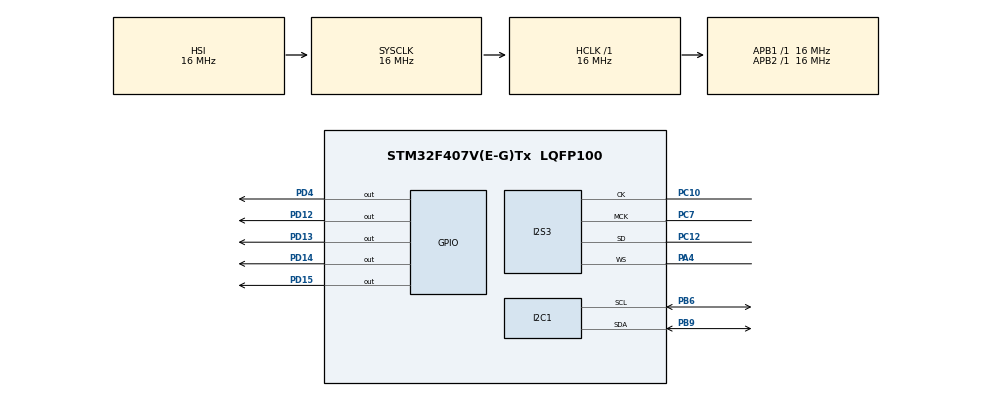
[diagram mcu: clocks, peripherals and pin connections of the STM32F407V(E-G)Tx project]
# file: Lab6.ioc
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Dma.Request0=SPI3_TX
Dma.SPI3_TX.0.Direction=DMA_MEMORY_TO_PERIPH
Dma.SPI3_TX.0.FIFOMode=DMA_FIFOMODE_ENABLE
Dma.SPI3_TX.0.FIFOThreshold=DMA_FIFO_THRESHOLD_FULL
Dma.SPI3_TX.0.Instance=DMA1_Stream5
Dma.SPI3_TX.0.MemBurst=DMA_MBURST_SINGLE
Dma.SPI3_TX.0.MemDataAlignment=DMA_MDATAALIGN_HALFWORD
Dma.SPI3_TX.0.MemInc=DMA_MINC_ENABLE
Dma.SPI3_TX.0.Mode=DMA_CIRCULAR
Dma.SPI3_TX.0.PeriphBurst=DMA_PBURST_SINGLE
Dma.SPI3_TX.0.PeriphDataAlignment=DMA_PDATAALIGN_HALFWORD
Dma.SPI3_TX.0.PeriphInc=DMA_PINC_DISABLE
Dma.SPI3_TX.0.Priority=DMA_PRIORITY_LOW
I2S3.AudioFreq=I2S_AUDIOFREQ_48K
I2S3.ErrorAudioFreq=-2.34 %
I2S3.FullDuplexMode=I2S_FULLDUPLEXMODE_DISABLE
I2S3.Instance=SPI$Index
I2S3.RealAudioFreq=46.875 KHz
I2S3.VirtualMode=I2S_MODE_MASTER
Mcu.Family=STM32F4
Mcu.Name=STM32F407V(E-G)Tx
Mcu.Package=LQFP100
NVIC.DMA1_Stream5_IRQn=true\:0\:0\:false\:false\:true\:false\:true\:true
NVIC.PriorityGroup=NVIC_PRIORITYGROUP_4
PA4.Mode=Half_Duplex_Master
PA4.Signal=I2S3_WS
PB6.Mode=I2C
PB6.Signal=I2C1_SCL
PB9.Mode=I2C
PB9.Signal=I2C1_SDA
PC10.Mode=Half_Duplex_Master
PC10.Signal=I2S3_CK
PC12.Mode=Half_Duplex_Master
PC12.Signal=I2S3_SD
PC7.Mode=Master_Clock_Activated
PC7.Signal=I2S3_MCK
PD12.Signal=GPIO_Output
PD13.Signal=GPIO_Output
PD14.Signal=GPIO_Output
PD15.Signal=GPIO_Output
PD4.Signal=GPIO_Output
ProjectManager.HeapSize=0x200
ProjectManager.StackSize=0x400
ProjectManager.TargetToolchain=STM32CubeIDE
RCC.AHBFreq_Value=16000000
RCC.APB1Freq_Value=16000000
RCC.APB2Freq_Value=16000000
RCC.CortexFreq_Value=16000000
RCC.HSE_VALUE=25000000
RCC.HSI_VALUE=16000000
RCC.LSE_VALUE=32768
RCC.SYSCLKFreq_VALUE=16000000
RCC.VCOOutputFreq_Value=192000000
board=custom

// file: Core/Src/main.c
/* USER CODE BEGIN Header */
/**
  ******************************************************************************
  * @file           : main.c
  * @brief          : Main program body
  ******************************************************************************
  * @attention
  *
  * Copyright (c) 2025 STMicroelectronics.
  * All rights reserved.
  *
  * This software is licensed under terms that can be found in the LICENSE file
  * in the root directory of this software component.
  * If no LICENSE file comes with this software, it is provided AS-IS.
  *
  ******************************************************************************
  */
/* USER CODE END Header */
#include "main.h"

/* USER CODE BEGIN PTD */
typedef enum
{
	C4,
	C5,
	D5,
	E5,
	F5,
	G5,
	A5,
	B5,
	C6,
	D6,
	E6,
	F6,
	G6,
	A6,
	B6,
	C7,
	MAX_VALUE
} soundToneType;

static const uint8_t soundToneReg[16]={		//list of all possible register values
		0x09,
		0x19,
		0x29,
		0x39,
		0x49,
		0x59,
		0x69,
		0x79,
		0x89,
		0x99,
		0xA9,
		0xB9,
		0xC9,
		0xD9,
		0xE9,
		0xF9
};

/* USER CODE END PTD */

/* USER CODE BEGIN PD */
#define CS43L22_I2C_ADDRESS		0x94
#define I2C_TIMEOUT				10

/* USER CODE END PD */

I2C_HandleTypeDef hi2c1;

I2S_HandleTypeDef hi2s3;
DMA_HandleTypeDef hdma_spi3_tx;

/* USER CODE BEGIN PV */
int16_t dataI2S[100] = {0};
/* USER CODE END PV */

void SystemClock_Config(void);
static void MX_GPIO_Init(void);
static void MX_DMA_Init(void);
static void MX_I2C1_Init(void);
static void MX_I2S3_Init(void);

/* USER CODE BEGIN 0 */

void CS43L22_Init(void)
{
	// Enable chip
	HAL_GPIO_WritePin(GPIOD, GPIO_PIN_4, GPIO_PIN_SET);

	//
	// Initialization
	//
	uint8_t TxBuffer[2];

	TxBuffer[0] = 0x0D;
	TxBuffer[1] = 0x01;
	HAL_I2C_Master_Transmit(&hi2c1, CS43L22_I2C_ADDRESS, (uint8_t*) &TxBuffer, 2, I2C_TIMEOUT);

	TxBuffer[0] = 0x00;
	TxBuffer[1] = 0x99;
	HAL_I2C_Master_Transmit(&hi2c1, CS43L22_I2C_ADDRESS, (uint8_t*) &TxBuffer, 2, I2C_TIMEOUT);

	TxBuffer[0] = 0x47;
	TxBuffer[1] = 0x80;
	HAL_I2C_Master_Transmit(&hi2c1, CS43L22_I2C_ADDRESS, (uint8_t*) &TxBuffer, 2, I2C_TIMEOUT);

	TxBuffer[0] = 0x32;
	TxBuffer[1] = 0xFF;
	HAL_I2C_Master_Transmit(&hi2c1, CS43L22_I2C_ADDRESS, (uint8_t*) &TxBuffer, 2, I2C_TIMEOUT);

	TxBuffer[0] = 0x32;
	TxBuffer[1] = 0x7F;
	HAL_I2C_Master_Transmit(&hi2c1, CS43L22_I2C_ADDRESS, (uint8_t*) &TxBuffer, 2, I2C_TIMEOUT);

	TxBuffer[0] = 0x00;
	TxBuffer[1] = 0x00;
	HAL_I2C_Master_Transmit(&hi2c1, CS43L22_I2C_ADDRESS, (uint8_t*) &TxBuffer, 2, I2C_TIMEOUT);

	TxBuffer[0] = 0x04;
	TxBuffer[1] = 0xAF;
	HAL_I2C_Master_Transmit(&hi2c1, CS43L22_I2C_ADDRESS, (uint8_t*) &TxBuffer, 2, I2C_TIMEOUT);

	TxBuffer[0] = 0x0D;
	TxBuffer[1] = 0x70;
	HAL_I2C_Master_Transmit(&hi2c1, CS43L22_I2C_ADDRESS, (uint8_t*) &TxBuffer, 2, I2C_TIMEOUT);

	TxBuffer[0] = 0x05;
	TxBuffer[1] = 0x81;
	HAL_I2C_Master_Transmit(&hi2c1, CS43L22_I2C_ADDRESS, (uint8_t*) &TxBuffer, 2, I2C_TIMEOUT);

	TxBuffer[0] = 0x06;
	TxBuffer[1] = 0x07;
	HAL_I2C_Master_Transmit(&hi2c1, CS43L22_I2C_ADDRESS, (uint8_t*) &TxBuffer, 2, I2C_TIMEOUT);

	TxBuffer[0] = 0x0A;
	TxBuffer[1] = 0x00;
	HAL_I2C_Master_Transmit(&hi2c1, CS43L22_I2C_ADDRESS, (uint8_t*) &TxBuffer, 2, I2C_TIMEOUT);

	TxBuffer[0] = 0x27;
	TxBuffer[1] = 0x00;
	HAL_I2C_Master_Transmit(&hi2c1, CS43L22_I2C_ADDRESS, (uint8_t*) &TxBuffer, 2, I2C_TIMEOUT);

	TxBuffer[0] = 0x1A;
	TxBuffer[1] = 0x0A;
	HAL_I2C_Master_Transmit(&hi2c1, CS43L22_I2C_ADDRESS, (uint8_t*) &TxBuffer, 2, I2C_TIMEOUT);

	TxBuffer[0] = 0x1B;
	TxBuffer[1] = 0x0A;
	HAL_I2C_Master_Transmit(&hi2c1, CS43L22_I2C_ADDRESS, (uint8_t*) &TxBuffer, 2, I2C_TIMEOUT);

	TxBuffer[0] = 0x1F;
	TxBuffer[1] = 0x0F;
	HAL_I2C_Master_Transmit(&hi2c1, CS43L22_I2C_ADDRESS, (uint8_t*) &TxBuffer, 2, I2C_TIMEOUT);

	TxBuffer[0] = 0x02;
	TxBuffer[1] = 0x9E;
	HAL_I2C_Master_Transmit(&hi2c1, CS43L22_I2C_ADDRESS, (uint8_t*) &TxBuffer, 2, I2C_TIMEOUT);
}

void CS43L22_Beep(soundToneType pitch, uint32_t duration_ms)
{
	uint8_t TxBuffer[2];

	// Set volume and off time
	TxBuffer[0] = 0x1D;		// Register address
	TxBuffer[1] = 0x00;		// Value (volume and off time)
	HAL_I2C_Master_Transmit(&hi2c1, CS43L22_I2C_ADDRESS, (uint8_t*) &TxBuffer, 2, I2C_TIMEOUT);

	// Set sound frequency
	TxBuffer[0] = 0x1C;		// Register address
	if (pitch < MAX_VALUE) {
		TxBuffer[1] = soundToneReg[pitch]; //Set pitch from the list
	}
	else{
		TxBuffer[1] = soundToneReg[15]; //Set the highest available
	}
	HAL_I2C_Master_Transmit(&hi2c1, CS43L22_I2C_ADDRESS, (uint8_t*) &TxBuffer, 2, I2C_TIMEOUT);

	// Enable continuous mode (SOUND STARTED)
	TxBuffer[0] = 0x1E;		// Register address
	TxBuffer[1] = 0xC0;		// Value (beep and tone configuration)
	HAL_I2C_Master_Transmit(&hi2c1, CS43L22_I2C_ADDRESS, (uint8_t*) &TxBuffer, 2, I2C_TIMEOUT);

	// Playing...
	HAL_Delay(duration_ms);

	// Disable continuous mode (SOUND STOPED)
	TxBuffer[0] = 0x1E;		// Register address
	TxBuffer[1] = 0x00;		// Value (beep and tone configuration)
	HAL_I2C_Master_Transmit(&hi2c1, CS43L22_I2C_ADDRESS, (uint8_t*) &TxBuffer, 2, I2C_TIMEOUT);
}

void lightMusic(soundToneType note){
	HAL_GPIO_WritePin(GPIOD, GPIO_PIN_12 | GPIO_PIN_13 | GPIO_PIN_14 | GPIO_PIN_15, GPIO_PIN_RESET);	// disables all LEDs

	switch(note){	// picks LEDs to light based on the note selected
	case C4:
	case C5:
		HAL_GPIO_WritePin(GPIOD, GPIO_PIN_12, GPIO_PIN_SET);
		break;
	case D5:
	case D6:
		HAL_GPIO_WritePin(GPIOD, GPIO_PIN_13, GPIO_PIN_SET);
		break;
	case E5:
	case E6:
		HAL_GPIO_WritePin(GPIOD, GPIO_PIN_14, GPIO_PIN_SET);
		break;
	case F5:
	case F6:
		HAL_GPIO_WritePin(GPIOD, GPIO_PIN_15, GPIO_PIN_SET);
		break;
	case G5:
	case G6:
		HAL_GPIO_WritePin(GPIOD, GPIO_PIN_12 | GPIO_PIN_13, GPIO_PIN_SET);
		break;
	case A5:
	case A6:
		HAL_GPIO_WritePin(GPIOD, GPIO_PIN_13 | GPIO_PIN_14, GPIO_PIN_SET);
		break;
	case B5:
	case B6:
		HAL_GPIO_WritePin(GPIOD, GPIO_PIN_14 | GPIO_PIN_15, GPIO_PIN_SET);
		break;
	case C6:
	case C7:
	default:
		HAL_GPIO_WritePin(GPIOD, GPIO_PIN_15 | GPIO_PIN_12, GPIO_PIN_SET);
		break;
	}
}

/* USER CODE END 0 */

int main(void)
{

  /* MCU Configuration--------------------------------------------------------*/

  /* Reset of all peripherals, Initializes the Flash interface and the Systick. */
  HAL_Init();

  /* Configure the system clock */
  SystemClock_Config();

  /* Initialize all configured peripherals */
  MX_GPIO_Init();
  MX_DMA_Init();
  MX_I2C1_Init();
  MX_I2S3_Init();
  /* USER CODE BEGIN 2 */

  // Init DAC
  CS43L22_Init();

  // Transmit empty data
  HAL_I2S_Transmit_DMA(&hi2s3, (uint16_t *)dataI2S, 100);

  /* USER CODE END 2 */

  /* Infinite loop */
  /* USER CODE BEGIN WHILE */
  HAL_Delay(1000);	//delay before starting

  int i = 1;

  soundToneType melody[] = {
	  A5, A5, A5, F5, C6, A5, F5, C6, A5,
      E6, E6, E6, F6, C6, G5, F5, C6,
      A5, F5, C6, A5, F5, C6, A5,
      E6, E6, E6, F6, C6, G5, F5, C6,
      // remaining unused notes for full coverage
      B5, D5, B6, D6, G6, A6, B6, C7, C4};

  uint32_t noteDurations[] = {
      500, 500, 500, 350, 150, 500, 350, 150, 1000,
      500, 350, 150, 500, 350, 150, 500, 1000,
      500, 500, 350, 150, 500, 350, 150,
      500, 350, 150, 500, 350, 150, 500, 1000,
      // Fast run through all remaining notes
      200, 200, 200, 200, 200, 200, 200, 500,
      400};

  int melodyNoteCount = sizeof(melody) / sizeof(melody[0]);

  while (i<4) {	//repeat the melody 3 times

      for(int j=0; j<melodyNoteCount; ++j){	//for each note
          CS43L22_Beep(melody[j], noteDurations[j]);	//Play the note
          lightMusic(melody[j]);	//activate LEDs
          HAL_Delay(50); 	//wait before the next note
      }
      HAL_Delay(1000);	//delay between melodies
      i++;
  }

  HAL_GPIO_WritePin(GPIOD, GPIO_PIN_12 | GPIO_PIN_13 | GPIO_PIN_14 | GPIO_PIN_15, GPIO_PIN_RESET);	// disables all LEDs
  while (1) {}

  /* USER CODE END 3 */
}

void SystemClock_Config(void)
{
  RCC_OscInitTypeDef RCC_OscInitStruct = {0};
  RCC_ClkInitTypeDef RCC_ClkInitStruct = {0};

  /** Macro to configure the PLL multiplication factor
  */
  __HAL_RCC_PLL_PLLM_CONFIG(16);

  /** Macro to configure the PLL clock source
  */
  __HAL_RCC_PLL_PLLSOURCE_CONFIG(RCC_PLLSOURCE_HSI);

  /** Configure the main internal regulator output voltage
  */
  __HAL_RCC_PWR_CLK_ENABLE();
  __HAL_PWR_VOLTAGESCALING_CONFIG(PWR_REGULATOR_VOLTAGE_SCALE1);

  /** Initializes the RCC Oscillators according to the specified parameters
  * in the RCC_OscInitTypeDef structure.
  */
  RCC_OscInitStruct.OscillatorType = RCC_OSCILLATORTYPE_HSI;
  RCC_OscInitStruct.HSIState = RCC_HSI_ON;
  RCC_OscInitStruct.HSICalibrationValue = RCC_HSICALIBRATION_DEFAULT;
  RCC_OscInitStruct.PLL.PLLState = RCC_PLL_NONE;
  RCC_OscInitStruct.PLL.PLLSource = RCC_PLLSOURCE_HSI;
  if (HAL_RCC_OscConfig(&RCC_OscInitStruct) != HAL_OK)
  {
    Error_Handler();
  }

  /** Initializes the CPU, AHB and APB buses clocks
  */
  RCC_ClkInitStruct.ClockType = RCC_CLOCKTYPE_HCLK|RCC_CLOCKTYPE_SYSCLK
                              |RCC_CLOCKTYPE_PCLK1|RCC_CLOCKTYPE_PCLK2;
  RCC_ClkInitStruct.SYSCLKSource = RCC_SYSCLKSOURCE_HSI;
  RCC_ClkInitStruct.AHBCLKDivider = RCC_SYSCLK_DIV1;
  RCC_ClkInitStruct.APB1CLKDivider = RCC_HCLK_DIV1;
  RCC_ClkInitStruct.APB2CLKDivider = RCC_HCLK_DIV1;

  if (HAL_RCC_ClockConfig(&RCC_ClkInitStruct, FLASH_LATENCY_0) != HAL_OK)
  {
    Error_Handler();
  }
}

static void MX_I2C1_Init(void)
{

  hi2c1.Instance = I2C1;
  hi2c1.Init.ClockSpeed = 100000;
  hi2c1.Init.DutyCycle = I2C_DUTYCYCLE_2;
  hi2c1.Init.OwnAddress1 = 0;
  hi2c1.Init.AddressingMode = I2C_ADDRESSINGMODE_7BIT;
  hi2c1.Init.DualAddressMode = I2C_DUALADDRESS_DISABLE;
  hi2c1.Init.OwnAddress2 = 0;
  hi2c1.Init.GeneralCallMode = I2C_GENERALCALL_DISABLE;
  hi2c1.Init.NoStretchMode = I2C_NOSTRETCH_DISABLE;
  if (HAL_I2C_Init(&hi2c1) != HAL_OK)
  {
    Error_Handler();
  }

}

static void MX_I2S3_Init(void)
{

  hi2s3.Instance = SPI3;
  hi2s3.Init.Mode = I2S_MODE_MASTER_TX;
  hi2s3.Init.Standard = I2S_STANDARD_PHILIPS;
  hi2s3.Init.DataFormat = I2S_DATAFORMAT_16B;
  hi2s3.Init.MCLKOutput = I2S_MCLKOUTPUT_ENABLE;
  hi2s3.Init.AudioFreq = I2S_AUDIOFREQ_48K;
  hi2s3.Init.CPOL = I2S_CPOL_LOW;
  hi2s3.Init.ClockSource = I2S_CLOCK_PLL;
  hi2s3.Init.FullDuplexMode = I2S_FULLDUPLEXMODE_DISABLE;
  if (HAL_I2S_Init(&hi2s3) != HAL_OK)
  {
    Error_Handler();
  }

}

static void MX_DMA_Init(void)
{

  /* DMA controller clock enable */
  __HAL_RCC_DMA1_CLK_ENABLE();

  /* DMA interrupt init */
  /* DMA1_Stream5_IRQn interrupt configuration */
  HAL_NVIC_SetPriority(DMA1_Stream5_IRQn, 0, 0);
  HAL_NVIC_EnableIRQ(DMA1_Stream5_IRQn);

}

static void MX_GPIO_Init(void)
{
  GPIO_InitTypeDef GPIO_InitStruct = {0};

  /* GPIO Ports Clock Enable */
  __HAL_RCC_GPIOA_CLK_ENABLE();
  __HAL_RCC_GPIOD_CLK_ENABLE();
  __HAL_RCC_GPIOC_CLK_ENABLE();
  __HAL_RCC_GPIOB_CLK_ENABLE();

  /*Configure GPIO pin Output Level */
  HAL_GPIO_WritePin(GPIOD, GPIO_PIN_12|GPIO_PIN_13|GPIO_PIN_14|GPIO_PIN_15
                          |GPIO_PIN_4, GPIO_PIN_RESET);

  /*Configure GPIO pins : PD12 PD13 PD14 PD15
                           PD4 */
  GPIO_InitStruct.Pin = GPIO_PIN_12|GPIO_PIN_13|GPIO_PIN_14|GPIO_PIN_15
                          |GPIO_PIN_4;
  GPIO_InitStruct.Mode = GPIO_MODE_OUTPUT_PP;
  GPIO_InitStruct.Pull = GPIO_NOPULL;
  GPIO_InitStruct.Speed = GPIO_SPEED_FREQ_LOW;
  HAL_GPIO_Init(GPIOD, &GPIO_InitStruct);

}

void Error_Handler(void)
{
  __disable_irq();
  while (1)
  {
  }
}
